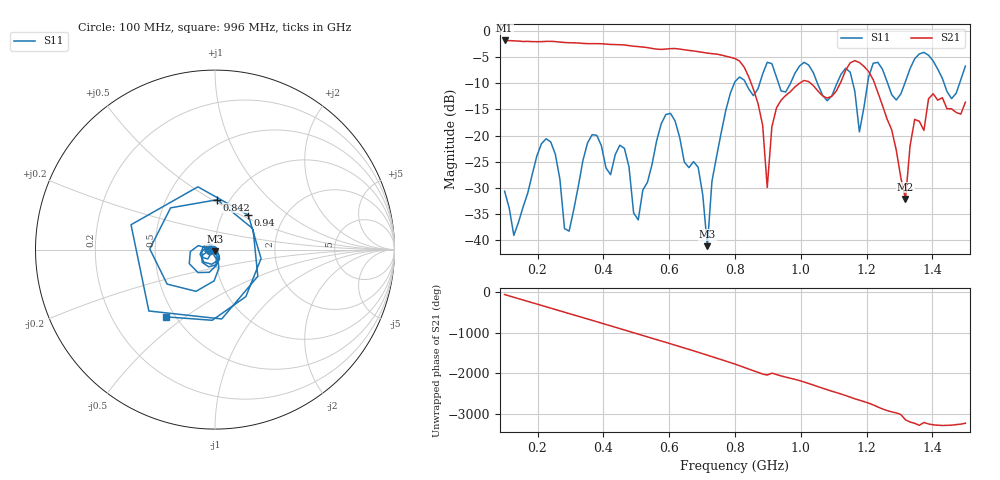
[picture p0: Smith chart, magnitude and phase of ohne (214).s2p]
! NanoVNA-App
! Date: 2025-09-25 14:22:28
! Start: 100MHz Stop: 1,5GHz Points: 101
! S-Parameter data: F S11 S21 S12 S22
# Hz S RI R 50
!  Frequency  S11_Real  S11_Imag  S21_Real  S21_Imag  S12_Real  S12_Imag  S22_Real  S22_Imag
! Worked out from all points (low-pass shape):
!   101 points, 100 MHz to 1.5 GHz, reference 50 ohm
!   highest |S21| = -1.79 dB at 100 MHz (marker M1); lowest = -32.1 dB at 1.318 GHz (marker M2)
!   |S21| within 3 dB of the highest: start of sweep to 771.3 MHz
!   lowest |S11| = -41.1 dB at 716 MHz (marker M3), VSWR 1.02, Z = 49.8 - j0.858 ohm
!   |S11| at or under -10 dB: start of sweep to 797.8 MHz; 833 MHz to 875.1 MHz (42.09 MHz wide, 4.93 % of centre); 1.051 GHz to 1.11 GHz (59.23 MHz wide, 5.48 % of centre) (the widest 3 of 7)
!   S12 and S22 are empty: the file has one direction only
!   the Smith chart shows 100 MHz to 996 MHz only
!   S11 on the Smith chart (normalised r, x): 100 MHz: 0.94, -0.01; 842 MHz: 0.88, +0.53; 940 MHz: 1.33, +0.55; 996 MHz: 0.45, -0.43
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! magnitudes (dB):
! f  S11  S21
! 100 MHz  -30.6  -1.8
! 128 MHz  -39.1  -1.9
! 226 MHz  -20.6  -2.0
! 296 MHz  -38.3  -2.2
! 338 MHz  -24.7  -2.4
! 464 MHz  -22.4  -2.7
! 506 MHz  -36.1  -3.0
! 576 MHz  -17.7  -3.5
! 688 MHz  -26.0  -3.9
! 716 MHz  -41.1  -4.2
! 800 MHz  -9.7  -5.2
! 842 MHz  -11.1  -8.8
! 898 MHz  -6.0  -29.9
! 940 MHz  -11.5  -13.2
! 996 MHz  -6.7  -10.0
! 1.038 GHz  -8.0  -10.4
! 1.178 GHz  -19.3  -6.0
! 1.22 GHz  -6.1  -9.3
! 1.276 GHz  -12.2  -18.9
! 1.318 GHz  -9.6  -32.1
! 1.346 GHz  -5.3  -16.9
! 1.5 GHz  -6.7  -13.6
